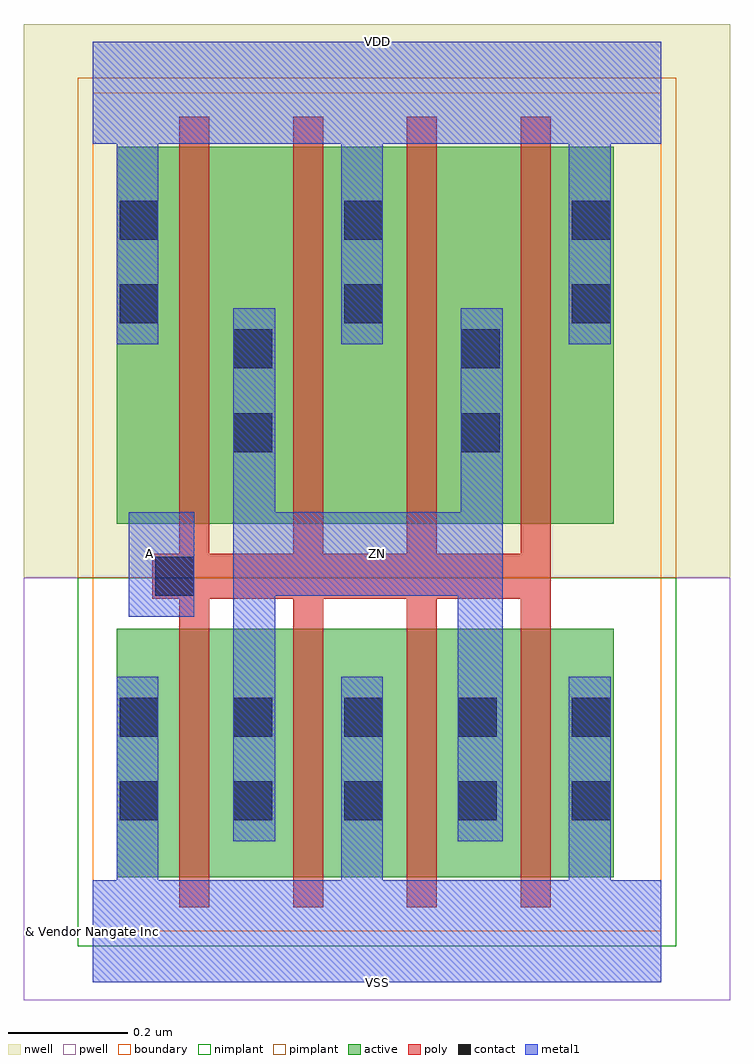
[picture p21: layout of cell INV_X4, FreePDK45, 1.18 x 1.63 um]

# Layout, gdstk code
import gdstk
lib = gdstk.Library(unit=1e-6, precision=1e-10)
def R(c, l, rs):  # rectangles x0, y0, x1, y1
    for r in rs: c.add(gdstk.rectangle(r[:2], r[2:], *l))
def A(c, l, x, y, w, h, nx, ny, dx, dy):  # array of equal rectangles
    R(c, l, [(x+i*dx, y+j*dy, x+i*dx+w, y+j*dy+h) for i in range(nx) for j in range(ny)])
def P(c, l, *ps):  # polygons
    for p in ps: c.add(gdstk.Polygon(p, *l))
active = (1, 0)
pwell = (2, 0)
nwell = (3, 0)
nimplant = (4, 0)
pimplant = (5, 0)
poly = (9, 0)
contact = (10, 0)
metal1 = (11, 0)
boundary = (235, 0)

inv_x4 = lib.new_cell('INV_X4')
R(inv_x4, active, [(0.04,0.09,0.87,0.505), (0.04,0.68,0.87,1.31)])
R(inv_x4, pwell, [(-0.115,-0.115,1.065,0.59)])
R(inv_x4, nwell, [(-0.115,0.59,1.065,1.515)])
R(inv_x4, nimplant, [(-0.025,-0.025,0.975,0.59)])
R(inv_x4, pimplant, [(-0.025,0.59,0.975,1.425)])
P(inv_x4, poly, [(0.145,0.04),(0.145,0.555),(0.1,0.555),(0.1,0.63),(0.145,0.63),(0.145,1.36),(0.195,1.36),(0.195,0.63),(0.335,0.63),(0.335,1.36),(0.385,1.36),(0.385,0.63),(0.525,0.63),(0.525,1.36),(0.575,1.36),(0.575,0.63),(0.715,0.63),(0.715,1.36),(0.765,1.36),(0.765,0.04),(0.715,0.04),(0.715,0.555),(0.575,0.555),(0.575,0.04),(0.525,0.04),(0.525,0.555),(0.385,0.555),(0.385,0.04),(0.335,0.04),(0.335,0.555),(0.195,0.555),(0.195,0.04)])
A(inv_x4, contact, 0.42, 0.185, 0.065, 0.065, 3, 2, 0.19, 0.14)
R(inv_x4, contact, [(0.045,0.185,0.11,0.25), (0.235,0.185,0.3,0.25), (0.045,0.325,0.11,0.39), (0.235,0.325,0.3,0.39), (0.105,0.56,0.17,0.625), (0.235,0.8,0.3,0.865), (0.615,0.8,0.68,0.865), (0.235,0.94,0.3,1.005), (0.615,0.94,0.68,1.005), (0.045,1.015,0.11,1.08), (0.42,1.015,0.485,1.08), (0.8,1.015,0.865,1.08), (0.045,1.155,0.11,1.22), (0.42,1.155,0.485,1.22), (0.8,1.155,0.865,1.22)])
R(inv_x4, metal1, [(0.06,0.525,0.17,0.7)])
P(inv_x4, metal1, [(0.235,0.15),(0.235,1.04),(0.305,1.04),(0.305,0.7),(0.615,0.7),(0.615,1.04),(0.685,1.04),(0.685,0.15),(0.61,0.15),(0.61,0.56),(0.305,0.56),(0.305,0.15)],
  [(0,-0.085),(0,0.085),(0.04,0.085),(0.04,0.425),(0.11,0.425),(0.11,0.085),(0.415,0.085),(0.415,0.425),(0.485,0.425),(0.485,0.085),(0.795,0.085),(0.795,0.425),(0.865,0.425),(0.865,0.085),(0.95,0.085),(0.95,-0.085)],
  [(0.04,0.98),(0.04,1.315),(0,1.315),(0,1.485),(0.95,1.485),(0.95,1.315),(0.865,1.315),(0.865,0.98),(0.795,0.98),(0.795,1.315),(0.485,1.315),(0.485,0.98),(0.415,0.98),(0.415,1.315),(0.11,1.315),(0.11,0.98)])
R(inv_x4, boundary, [(0,0,0.95,1.4)])
inv_x4.add(gdstk.Label('A', (0.095,0.63), layer=11, texttype=0))
inv_x4.add(gdstk.Label('VDD', (0.475,1.485), layer=11, texttype=0))
inv_x4.add(gdstk.Label('VSS', (0.475,-0.085), layer=11, texttype=0))
inv_x4.add(gdstk.Label('ZN', (0.475,0.63), layer=11, texttype=0))
inv_x4.add(gdstk.Label('& Vendor Nangate Inc', (0,0), layer=63, texttype=63))
inv_x4.add(gdstk.Label('& Product Open Cell Library', (0,0), layer=63, texttype=63))
inv_x4.add(gdstk.Label('& Version 2010_12', (0,0), layer=63, texttype=63))
inv_x4.add(gdstk.Label('& Instance INV_X4', (0,0), layer=63, texttype=63))

lib.write_gds('INV_X4.gds')
